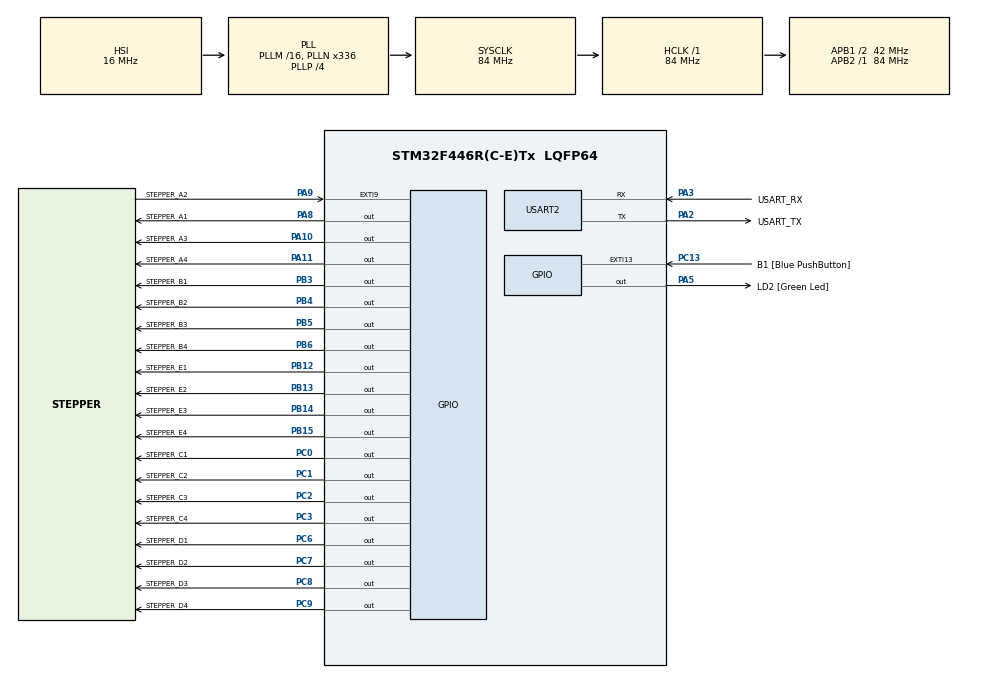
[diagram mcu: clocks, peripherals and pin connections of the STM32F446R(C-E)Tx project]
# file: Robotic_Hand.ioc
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Mcu.Family=STM32F4
Mcu.Name=STM32F446R(C-E)Tx
Mcu.Package=LQFP64
NVIC.PriorityGroup=NVIC_PRIORITYGROUP_0
PA10.GPIO_Label=STEPPER_A3
PA10.Signal=GPIO_Output
PA11.GPIO_Label=STEPPER_A4
PA11.Signal=GPIO_Output
PA13.GPIO_Label=TMS
PA13.Mode=Serial_Wire
PA13.Signal=SYS_JTMS-SWDIO
PA14.GPIO_Label=TCK
PA14.Mode=Serial_Wire
PA14.Signal=SYS_JTCK-SWCLK
PA2.GPIO_Label=USART_TX
PA2.Mode=Asynchronous
PA2.Signal=USART2_TX
PA3.GPIO_Label=USART_RX
PA3.Mode=Asynchronous
PA3.Signal=USART2_RX
PA5.GPIO_Label=LD2 [Green Led]
PA5.Signal=GPIO_Output
PA8.GPIO_Label=STEPPER_A1
PA8.Signal=GPIO_Output
PA9.GPIO_Label=STEPPER_A2
PA9.Signal=GPXTI9
PB12.GPIO_Label=STEPPER_E1
PB12.Signal=GPIO_Output
PB13.GPIO_Label=STEPPER_E2
PB13.Signal=GPIO_Output
PB14.GPIO_Label=STEPPER_E3
PB14.Signal=GPIO_Output
PB15.GPIO_Label=STEPPER_E4
PB15.Signal=GPIO_Output
PB3.GPIO_Label=STEPPER_B1
PB3.Signal=GPIO_Output
PB4.GPIO_Label=STEPPER_B2
PB4.Signal=GPIO_Output
PB5.GPIO_Label=STEPPER_B3
PB5.Signal=GPIO_Output
PB6.GPIO_Label=STEPPER_B4
PB6.Signal=GPIO_Output
PC0.GPIO_Label=STEPPER_C1
PC0.Signal=GPIO_Output
PC1.GPIO_Label=STEPPER_C2
PC1.Signal=GPIO_Output
PC13.GPIO_Label=B1 [Blue PushButton]
PC13.GPIO_ModeDefaultEXTI=GPIO_MODE_IT_FALLING
PC13.Signal=GPXTI13
PC14-OSC32_IN.Mode=LSE-External-Oscillator
PC14-OSC32_IN.Signal=RCC_OSC32_IN
PC15-OSC32_OUT.Mode=LSE-External-Oscillator
PC15-OSC32_OUT.Signal=RCC_OSC32_OUT
PC2.GPIO_Label=STEPPER_C3
PC2.Signal=GPIO_Output
PC3.GPIO_Label=STEPPER_C4
PC3.Signal=GPIO_Output
PC6.GPIO_Label=STEPPER_D1
PC6.Signal=GPIO_Output
PC7.GPIO_Label=STEPPER_D2
PC7.Signal=GPIO_Output
PC8.GPIO_Label=STEPPER_D3
PC8.Signal=GPIO_Output
PC9.GPIO_Label=STEPPER_D4
PC9.Signal=GPIO_Output
PH0-OSC_IN.Mode=HSE-External-Oscillator
PH0-OSC_IN.Signal=RCC_OSC_IN
PH1-OSC_OUT.Mode=HSE-External-Oscillator
PH1-OSC_OUT.Signal=RCC_OSC_OUT
ProjectManager.HeapSize=0x200
ProjectManager.StackSize=0x400
ProjectManager.TargetToolchain=STM32CubeIDE
RCC.48MHZClocksFreq_Value=84000000
RCC.AHBFreq_Value=84000000
RCC.APB1CLKDivider=RCC_HCLK_DIV2
RCC.APB1Freq_Value=42000000
RCC.APB1TimFreq_Value=84000000
RCC.APB2Freq_Value=84000000
RCC.APB2TimFreq_Value=84000000
RCC.CortexFreq_Value=84000000
RCC.FLatency-AdvancedSettings=FLASH_LATENCY_2
RCC.HCLKFreq_Value=84000000
RCC.HSE_VALUE=8000000
RCC.HSI_VALUE=16000000
RCC.PLLN=336
RCC.PLLP=RCC_PLLP_DIV4
RCC.SYSCLKFreq_VALUE=84000000
RCC.SYSCLKSource=RCC_SYSCLKSOURCE_PLLCLK
RCC.USBFreq_Value=168000000
RCC.VCOOutputFreq_Value=336000000
USART2.VirtualMode=VM_ASYNC
board=NUCLEO-F446RE

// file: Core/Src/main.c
/* USER CODE BEGIN Header */
/**
  ******************************************************************************
  * @file           : main.c
  * @brief          : Main program body
  ******************************************************************************
  * @attention
  *
  * Copyright (c) 2024 STMicroelectronics.
  * All rights reserved.
  *
  * This software is licensed under terms that can be found in the LICENSE file
  * in the root directory of this software component.
  * If no LICENSE file comes with this software, it is provided AS-IS.
  *
  ******************************************************************************
  */
/* USER CODE END Header */
#include "main.h"

/* USER CODE BEGIN PTD */

//enum for different motors
typedef enum {
    MOTOR_A,
    MOTOR_B,
    MOTOR_C,
    MOTOR_D,
    MOTOR_E
} MotorNum;

/* USER CODE END PTD */

UART_HandleTypeDef huart2;
uint8_t motor_states[5];

void SystemClock_Config(void);
static void MX_GPIO_Init(void);
static void MX_USART2_UART_Init(void);
/* USER CODE BEGIN PFP */

void Stepper_HalfStepForward(MotorNum motor);
void Stepper_HalfStepBackward(MotorNum motor);
void Stepper_SetHalfStepState(uint8_t state, MotorNum motor);

/* USER CODE END PFP */

int main(void)
{

  /* USER CODE BEGIN 1 */
	uint8_t rxBuffer[2]; // Buffer to hold 4 bytes
	uint16_t currState = 0;
	uint16_t nextState;

	uint8_t currMotorState;
	uint8_t nextMotorState;

  /* USER CODE END 1 */

  /* MCU Configuration--------------------------------------------------------*/

  /* Reset of all peripherals, Initializes the Flash interface and the Systick. */
  HAL_Init();

  /* Configure the system clock */
  SystemClock_Config();

  /* Initialize all configured peripherals */
  MX_GPIO_Init();
  MX_USART2_UART_Init();

  /* Infinite loop */
  while (1)
  {
	  //Receive data if present
	  if (HAL_UART_Receive(&huart2, rxBuffer, 2, 1000) == HAL_OK)
	  {
		  // Combine the 2 bytes into a 16-bit integer
		  nextState = (uint16_t)rxBuffer[1] << 8 | (uint16_t)rxBuffer[0];
	  }
	  else
	  {
		  nextState = currState;
	  }

	  //cycle through motors
	  for (int i = 0; i < 5; i++)
	  {
		  currMotorState = (currState >> i*3) & (uint16_t)7;
		  nextMotorState = (nextState >> i*3) & (uint16_t)7;

		  while (currMotorState < nextMotorState)
		  {
			  //can use for loop to increase number of half-steps if needed
			  Stepper_HalfStepForward(i);
			  currMotorState++;
		  }

		  while (currMotorState > nextMotorState)
		  {
			  //can use for loop to increase number of half-steps if needed
			  Stepper_HalfStepBackward(i);
			  currMotorState--;
		  }
	  }

	  currState = nextState;

  }
}

void SystemClock_Config(void)
{
  RCC_OscInitTypeDef RCC_OscInitStruct = {0};
  RCC_ClkInitTypeDef RCC_ClkInitStruct = {0};

  /** Configure the main internal regulator output voltage
  */
  __HAL_RCC_PWR_CLK_ENABLE();
  __HAL_PWR_VOLTAGESCALING_CONFIG(PWR_REGULATOR_VOLTAGE_SCALE3);

  /** Initializes the RCC Oscillators according to the specified parameters
  * in the RCC_OscInitTypeDef structure.
  */
  RCC_OscInitStruct.OscillatorType = RCC_OSCILLATORTYPE_HSI;
  RCC_OscInitStruct.HSIState = RCC_HSI_ON;
  RCC_OscInitStruct.HSICalibrationValue = RCC_HSICALIBRATION_DEFAULT;
  RCC_OscInitStruct.PLL.PLLState = RCC_PLL_ON;
  RCC_OscInitStruct.PLL.PLLSource = RCC_PLLSOURCE_HSI;
  RCC_OscInitStruct.PLL.PLLM = 16;
  RCC_OscInitStruct.PLL.PLLN = 336;
  RCC_OscInitStruct.PLL.PLLP = RCC_PLLP_DIV4;
  RCC_OscInitStruct.PLL.PLLQ = 2;
  RCC_OscInitStruct.PLL.PLLR = 2;
  if (HAL_RCC_OscConfig(&RCC_OscInitStruct) != HAL_OK)
  {
    Error_Handler();
  }

  /** Initializes the CPU, AHB and APB buses clocks
  */
  RCC_ClkInitStruct.ClockType = RCC_CLOCKTYPE_HCLK|RCC_CLOCKTYPE_SYSCLK
                              |RCC_CLOCKTYPE_PCLK1|RCC_CLOCKTYPE_PCLK2;
  RCC_ClkInitStruct.SYSCLKSource = RCC_SYSCLKSOURCE_PLLCLK;
  RCC_ClkInitStruct.AHBCLKDivider = RCC_SYSCLK_DIV1;
  RCC_ClkInitStruct.APB1CLKDivider = RCC_HCLK_DIV2;
  RCC_ClkInitStruct.APB2CLKDivider = RCC_HCLK_DIV1;

  if (HAL_RCC_ClockConfig(&RCC_ClkInitStruct, FLASH_LATENCY_2) != HAL_OK)
  {
    Error_Handler();
  }
}

static void MX_USART2_UART_Init(void)
{

  huart2.Instance = USART2;
  huart2.Init.BaudRate = 115200;
  huart2.Init.WordLength = UART_WORDLENGTH_8B;
  huart2.Init.StopBits = UART_STOPBITS_1;
  huart2.Init.Parity = UART_PARITY_NONE;
  huart2.Init.Mode = UART_MODE_TX_RX;
  huart2.Init.HwFlowCtl = UART_HWCONTROL_NONE;
  huart2.Init.OverSampling = UART_OVERSAMPLING_16;
  if (HAL_UART_Init(&huart2) != HAL_OK)
  {
    Error_Handler();
  }

}

static void MX_GPIO_Init(void)
{
  GPIO_InitTypeDef GPIO_InitStruct = {0};

  /* GPIO Ports Clock Enable */
  __HAL_RCC_GPIOC_CLK_ENABLE();
  __HAL_RCC_GPIOH_CLK_ENABLE();
  __HAL_RCC_GPIOA_CLK_ENABLE();
  __HAL_RCC_GPIOB_CLK_ENABLE();

  /*Configure GPIO pin Output Level */
  HAL_GPIO_WritePin(GPIOC, STEPPER_C1_Pin|STEPPER_C2_Pin|STEPPER_C3_Pin|STEPPER_C4_Pin
                          |STEPPER_D1_Pin|STEPPER_D2_Pin|STEPPER_D3_Pin|STEPPER_D4_Pin, GPIO_PIN_RESET);

  /*Configure GPIO pin Output Level */
  HAL_GPIO_WritePin(GPIOA, LD2_Pin|STEPPER_A1_Pin|STEPPER_A3_Pin|STEPPER_A4_Pin, GPIO_PIN_RESET);

  /*Configure GPIO pin Output Level */
  HAL_GPIO_WritePin(GPIOB, STEPPER_E1_Pin|STEPPER_E2_Pin|STEPPER_E3_Pin|STEPPER_E4_Pin
                          |STEPPER_B1_Pin|STEPPER_B2_Pin|STEPPER_B3_Pin|STEPPER_B4_Pin, GPIO_PIN_RESET);

  /*Configure GPIO pin : B1_Pin */
  GPIO_InitStruct.Pin = B1_Pin;
  GPIO_InitStruct.Mode = GPIO_MODE_IT_FALLING;
  GPIO_InitStruct.Pull = GPIO_NOPULL;
  HAL_GPIO_Init(B1_GPIO_Port, &GPIO_InitStruct);

  /*Configure GPIO pins : STEPPER_C1_Pin STEPPER_C2_Pin STEPPER_C3_Pin STEPPER_C4_Pin
                           STEPPER_D1_Pin STEPPER_D2_Pin STEPPER_D3_Pin STEPPER_D4_Pin */
  GPIO_InitStruct.Pin = STEPPER_C1_Pin|STEPPER_C2_Pin|STEPPER_C3_Pin|STEPPER_C4_Pin
                          |STEPPER_D1_Pin|STEPPER_D2_Pin|STEPPER_D3_Pin|STEPPER_D4_Pin;
  GPIO_InitStruct.Mode = GPIO_MODE_OUTPUT_PP;
  GPIO_InitStruct.Pull = GPIO_NOPULL;
  GPIO_InitStruct.Speed = GPIO_SPEED_FREQ_LOW;
  HAL_GPIO_Init(GPIOC, &GPIO_InitStruct);

  /*Configure GPIO pins : LD2_Pin STEPPER_A1_Pin STEPPER_A3_Pin STEPPER_A4_Pin */
  GPIO_InitStruct.Pin = LD2_Pin|STEPPER_A1_Pin|STEPPER_A3_Pin|STEPPER_A4_Pin;
  GPIO_InitStruct.Mode = GPIO_MODE_OUTPUT_PP;
  GPIO_InitStruct.Pull = GPIO_NOPULL;
  GPIO_InitStruct.Speed = GPIO_SPEED_FREQ_LOW;
  HAL_GPIO_Init(GPIOA, &GPIO_InitStruct);

  /*Configure GPIO pins : STEPPER_E1_Pin STEPPER_E2_Pin STEPPER_E3_Pin STEPPER_E4_Pin
                           STEPPER_B1_Pin STEPPER_B2_Pin STEPPER_B3_Pin STEPPER_B4_Pin */
  GPIO_InitStruct.Pin = STEPPER_E1_Pin|STEPPER_E2_Pin|STEPPER_E3_Pin|STEPPER_E4_Pin
                          |STEPPER_B1_Pin|STEPPER_B2_Pin|STEPPER_B3_Pin|STEPPER_B4_Pin;
  GPIO_InitStruct.Mode = GPIO_MODE_OUTPUT_PP;
  GPIO_InitStruct.Pull = GPIO_NOPULL;
  GPIO_InitStruct.Speed = GPIO_SPEED_FREQ_LOW;
  HAL_GPIO_Init(GPIOB, &GPIO_InitStruct);

  /*Configure GPIO pin : STEPPER_A2_Pin */
  GPIO_InitStruct.Pin = STEPPER_A2_Pin;
  GPIO_InitStruct.Mode = GPIO_MODE_IT_RISING;
  GPIO_InitStruct.Pull = GPIO_NOPULL;
  HAL_GPIO_Init(STEPPER_A2_GPIO_Port, &GPIO_InitStruct);

}

/* USER CODE BEGIN 4 */

// main.c

// Set the GPIO state to drive the stepper motor coils
void Stepper_SetHalfStepState(uint8_t state, MotorNum motor)
{
	GPIO_TypeDef* GPIO_Port1;
	GPIO_TypeDef* GPIO_Port2;
	GPIO_TypeDef* GPIO_Port3;
	GPIO_TypeDef* GPIO_Port4;
	uint8_t GPIO_Pin1;
	uint8_t GPIO_Pin2;
	uint8_t GPIO_Pin3;
	uint8_t GPIO_Pin4;

	// Set the 4 motor GPIOs based on the motor
	switch(motor)
	{
		case MOTOR_A:
			GPIO_Port1 = STEPPER_A1_GPIO_Port;
			GPIO_Port2 = STEPPER_A2_GPIO_Port;
			GPIO_Port3 = STEPPER_A3_GPIO_Port;
			GPIO_Port4 = STEPPER_A4_GPIO_Port;
			GPIO_Pin1 = STEPPER_A1_Pin;
			GPIO_Pin2 = STEPPER_A2_Pin;
			GPIO_Pin3 = STEPPER_A3_Pin;
			GPIO_Pin4 = STEPPER_A4_Pin;
			break;
		case MOTOR_B:
			GPIO_Port1 = STEPPER_B1_GPIO_Port;
			GPIO_Port2 = STEPPER_B2_GPIO_Port;
			GPIO_Port3 = STEPPER_B3_GPIO_Port;
			GPIO_Port4 = STEPPER_B4_GPIO_Port;
			GPIO_Pin1 = STEPPER_B1_Pin;
			GPIO_Pin2 = STEPPER_B2_Pin;
			GPIO_Pin3 = STEPPER_B3_Pin;
			GPIO_Pin4 = STEPPER_B4_Pin;
			break;
		case MOTOR_C:
			GPIO_Port1 = STEPPER_C1_GPIO_Port;
			GPIO_Port2 = STEPPER_C2_GPIO_Port;
			GPIO_Port3 = STEPPER_C3_GPIO_Port;
			GPIO_Port4 = STEPPER_C4_GPIO_Port;
			GPIO_Pin1 = STEPPER_C1_Pin;
			GPIO_Pin2 = STEPPER_C2_Pin;
			GPIO_Pin3 = STEPPER_C3_Pin;
			GPIO_Pin4 = STEPPER_C4_Pin;
			break;
		case MOTOR_D:
			GPIO_Port1 = STEPPER_D1_GPIO_Port;
			GPIO_Port2 = STEPPER_D2_GPIO_Port;
			GPIO_Port3 = STEPPER_D3_GPIO_Port;
			GPIO_Port4 = STEPPER_D4_GPIO_Port;
			GPIO_Pin1 = STEPPER_D1_Pin;
			GPIO_Pin2 = STEPPER_D2_Pin;
			GPIO_Pin3 = STEPPER_D3_Pin;
			GPIO_Pin4 = STEPPER_D4_Pin;
			break;
		case MOTOR_E:
			GPIO_Port1 = STEPPER_E1_GPIO_Port;
			GPIO_Port2 = STEPPER_E2_GPIO_Port;
			GPIO_Port3 = STEPPER_E3_GPIO_Port;
			GPIO_Port4 = STEPPER_E4_GPIO_Port;
			GPIO_Pin1 = STEPPER_E1_Pin;
			GPIO_Pin2 = STEPPER_E2_Pin;
			GPIO_Pin3 = STEPPER_E3_Pin;
			GPIO_Pin4 = STEPPER_E4_Pin;
			break;
	}

	// Set the 4 motor GPIO states based on the stepper state
	switch(state)
    {
        case 0: // Step 1: Energize A1
            HAL_GPIO_WritePin(GPIO_Port1, GPIO_Pin1, GPIO_PIN_SET);
            HAL_GPIO_WritePin(GPIO_Port2, GPIO_Pin2, GPIO_PIN_RESET);
            HAL_GPIO_WritePin(GPIO_Port3, GPIO_Pin3, GPIO_PIN_RESET);
            HAL_GPIO_WritePin(GPIO_Port4, GPIO_Pin4, GPIO_PIN_RESET);
            break;
        case 1: // Step 2: Energize A1 and A2
            HAL_GPIO_WritePin(GPIO_Port1, GPIO_Pin1, GPIO_PIN_SET);
            HAL_GPIO_WritePin(GPIO_Port2, GPIO_Pin2, GPIO_PIN_SET);
            HAL_GPIO_WritePin(GPIO_Port3, GPIO_Pin3, GPIO_PIN_RESET);
            HAL_GPIO_WritePin(GPIO_Port4, GPIO_Pin4, GPIO_PIN_RESET);
            break;
        case 2: // Step 3: Energize A2
            HAL_GPIO_WritePin(GPIO_Port1, GPIO_Pin1, GPIO_PIN_RESET);
            HAL_GPIO_WritePin(GPIO_Port2, GPIO_Pin2, GPIO_PIN_SET);
            HAL_GPIO_WritePin(GPIO_Port3, GPIO_Pin3, GPIO_PIN_RESET);
            HAL_GPIO_WritePin(GPIO_Port4, GPIO_Pin4, GPIO_PIN_RESET);
            break;
        case 3: // Step 4: Energize A2 and A3
            HAL_GPIO_WritePin(GPIO_Port1, GPIO_Pin1, GPIO_PIN_RESET);
            HAL_GPIO_WritePin(GPIO_Port2, GPIO_Pin2, GPIO_PIN_SET);
            HAL_GPIO_WritePin(GPIO_Port3, GPIO_Pin3, GPIO_PIN_SET);
            HAL_GPIO_WritePin(GPIO_Port4, GPIO_Pin4, GPIO_PIN_RESET);
            break;
        case 4: // Step 5: Energize A3
            HAL_GPIO_WritePin(GPIO_Port1, GPIO_Pin1, GPIO_PIN_RESET);
            HAL_GPIO_WritePin(GPIO_Port2, GPIO_Pin2, GPIO_PIN_RESET);
            HAL_GPIO_WritePin(GPIO_Port3, GPIO_Pin3, GPIO_PIN_SET);
            HAL_GPIO_WritePin(GPIO_Port4, GPIO_Pin4, GPIO_PIN_RESET);
            break;
        case 5: // Step 6: Energize A3 and A4
            HAL_GPIO_WritePin(GPIO_Port1, GPIO_Pin1, GPIO_PIN_RESET);
            HAL_GPIO_WritePin(GPIO_Port2, GPIO_Pin2, GPIO_PIN_RESET);
            HAL_GPIO_WritePin(GPIO_Port3, GPIO_Pin3, GPIO_PIN_SET);
            HAL_GPIO_WritePin(GPIO_Port4, GPIO_Pin4, GPIO_PIN_SET);
            break;
        case 6: // Step 7: Energize A4
            HAL_GPIO_WritePin(GPIO_Port1, GPIO_Pin1, GPIO_PIN_RESET);
            HAL_GPIO_WritePin(GPIO_Port2, GPIO_Pin2, GPIO_PIN_RESET);
            HAL_GPIO_WritePin(GPIO_Port3, GPIO_Pin3, GPIO_PIN_RESET);
            HAL_GPIO_WritePin(GPIO_Port4, GPIO_Pin4, GPIO_PIN_SET);
            break;
        case 7: // Step 8: Energize A4 and A1
            HAL_GPIO_WritePin(GPIO_Port1, GPIO_Pin1, GPIO_PIN_SET);
            HAL_GPIO_WritePin(GPIO_Port2, GPIO_Pin2, GPIO_PIN_RESET);
            HAL_GPIO_WritePin(GPIO_Port3, GPIO_Pin3, GPIO_PIN_RESET);
            HAL_GPIO_WritePin(GPIO_Port4, GPIO_Pin4, GPIO_PIN_SET);
            break;
    }
}

// Move the stepper motor one half-step forward
void Stepper_HalfStepForward(MotorNum motor)
{
    Stepper_SetHalfStepState(motor_states[motor], motor);
    motor_states[motor]++;

    // Loop back to the first state
    if (motor_states[motor] > 7)
    	motor_states[motor] = 0;

    HAL_Delay(10);  // Adjust delay for step speed
}

// Move the stepper motor one half-step backward
void Stepper_HalfStepBackward(MotorNum motor)
{
	Stepper_SetHalfStepState(motor_states[motor], motor);
	motor_states[motor]--;

	// Loop back to the first state
	if (motor_states[motor] < 0)
		motor_states[motor] = 7;

	HAL_Delay(10);  // Adjust delay for step speed
}

/* USER CODE END 4 */

void Error_Handler(void)
{
  __disable_irq();
  while (1)
  {
  }
}
